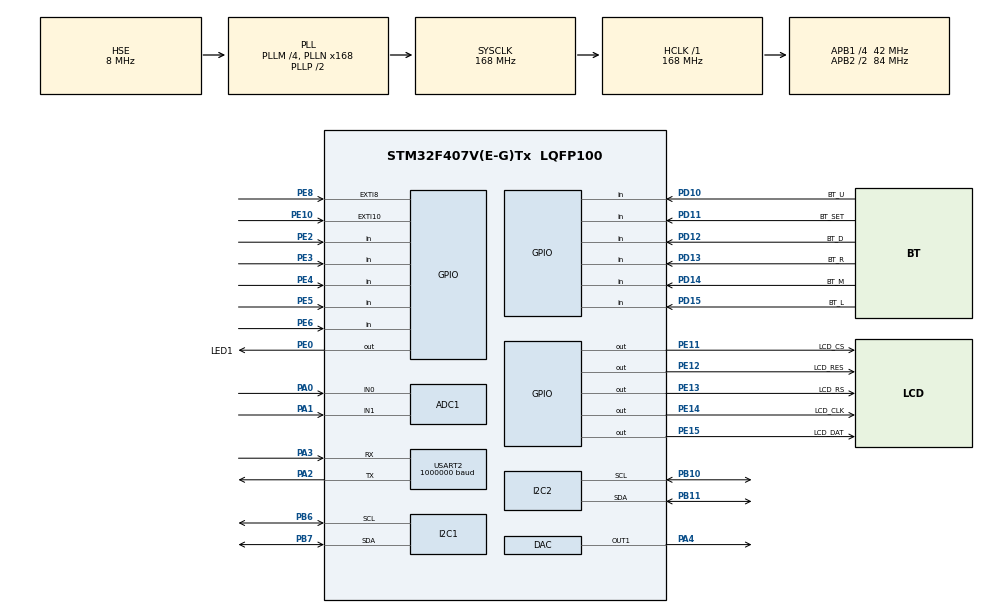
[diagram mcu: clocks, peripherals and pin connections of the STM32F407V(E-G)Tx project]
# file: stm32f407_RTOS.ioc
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ADC1.Channel-1\#ChannelRegularConversion=ADC_CHANNEL_0
ADC1.Channel-2\#ChannelRegularConversion=ADC_CHANNEL_1
ADC1.Channel-3\#ChannelRegularConversion=ADC_CHANNEL_TEMPSENSOR
ADC1.Channel-4\#ChannelRegularConversion=ADC_CHANNEL_VREFINT
ADC1.DMAContinuousRequests=ENABLE
ADC1.ExternalTrigConv=ADC_EXTERNALTRIGCONV_T4_CC4
ADC1.InjNumberOfConversion=0
ADC1.NbrOfConversion=4
ADC1.NbrOfConversionFlag=1
ADC1.Rank-1\#ChannelRegularConversion=1
ADC1.Rank-2\#ChannelRegularConversion=2
ADC1.Rank-3\#ChannelRegularConversion=3
ADC1.Rank-4\#ChannelRegularConversion=4
ADC1.SamplingTime-1\#ChannelRegularConversion=ADC_SAMPLETIME_144CYCLES
ADC1.SamplingTime-2\#ChannelRegularConversion=ADC_SAMPLETIME_144CYCLES
ADC1.SamplingTime-3\#ChannelRegularConversion=ADC_SAMPLETIME_144CYCLES
ADC1.SamplingTime-4\#ChannelRegularConversion=ADC_SAMPLETIME_144CYCLES
ADC1.master=1
Dma.ADC1.0.Direction=DMA_PERIPH_TO_MEMORY
Dma.ADC1.0.FIFOMode=DMA_FIFOMODE_DISABLE
Dma.ADC1.0.Instance=DMA2_Stream0
Dma.ADC1.0.MemDataAlignment=DMA_MDATAALIGN_HALFWORD
Dma.ADC1.0.MemInc=DMA_MINC_ENABLE
Dma.ADC1.0.Mode=DMA_CIRCULAR
Dma.ADC1.0.PeriphDataAlignment=DMA_PDATAALIGN_HALFWORD
Dma.ADC1.0.PeriphInc=DMA_PINC_DISABLE
Dma.ADC1.0.Priority=DMA_PRIORITY_LOW
Dma.MEMTOMEM.1.Direction=DMA_MEMORY_TO_MEMORY
Dma.MEMTOMEM.1.FIFOMode=DMA_FIFOMODE_ENABLE
Dma.MEMTOMEM.1.FIFOThreshold=DMA_FIFO_THRESHOLD_FULL
Dma.MEMTOMEM.1.Instance=DMA2_Stream1
Dma.MEMTOMEM.1.MemBurst=DMA_MBURST_SINGLE
Dma.MEMTOMEM.1.MemDataAlignment=DMA_MDATAALIGN_WORD
Dma.MEMTOMEM.1.MemInc=DMA_MINC_ENABLE
Dma.MEMTOMEM.1.Mode=DMA_NORMAL
Dma.MEMTOMEM.1.PeriphBurst=DMA_PBURST_SINGLE
Dma.MEMTOMEM.1.PeriphDataAlignment=DMA_PDATAALIGN_WORD
Dma.MEMTOMEM.1.PeriphInc=DMA_PINC_ENABLE
Dma.MEMTOMEM.1.Priority=DMA_PRIORITY_LOW
Dma.Request0=ADC1
Dma.Request1=MEMTOMEM
FREERTOS.BinarySemaphores01=myBinarySemAdcReady,Static,myBinarySemAdcReadyControlBlock
FREERTOS.INCLUDE_uxTaskGetStackHighWaterMark2=1
FREERTOS.Mutexes01=myMutex01,Static,myMutex01ControlBlock
FREERTOS.Tasks01=keyReadTask,32,512,StartTaskKeyRead,Default,NULL,Static,keyReadTaskBuffer,keyReadTaskControlBlock;uartReadTask,40,512,StartTaskUartRead,Default,NULL,Static,uartReadTaskBuffer,uartReadTaskControlBlock;ADC1ReadTask,40,512,StartTaskADC,Default,NULL,Static,myTaskADC1Buffer,myTaskADC1ControlBlock;BMP280Task,25,512,StartTaskReadBMP280,Default,NULL,Static,BMP280TaskBuffer,BMP280TaskControlBlock
FREERTOS.configENABLE_FPU=1
FREERTOS.configMINIMAL_STACK_SIZE=256
FREERTOS.configUSE_IDLE_HOOK=0
FREERTOS.configUSE_NEWLIB_REENTRANT=1
I2C1.I2C_Mode=I2C_Standard
I2C2.I2C_Mode=I2C_Fast
IWDG.Prescaler=IWDG_PRESCALER_64
Mcu.Family=STM32F4
Mcu.Name=STM32F407V(E-G)Tx
Mcu.Package=LQFP100
NVIC.ADC_IRQn=true\:5\:0\:false\:false\:true\:true\:true\:true\:true
NVIC.DMA2_Stream0_IRQn=true\:5\:0\:false\:false\:true\:true\:false\:true\:true
NVIC.EXTI15_10_IRQn=true\:5\:0\:false\:false\:true\:true\:true\:true\:true
NVIC.EXTI9_5_IRQn=true\:5\:0\:false\:false\:true\:true\:true\:true\:true
NVIC.PriorityGroup=NVIC_PRIORITYGROUP_4
NVIC.USART2_IRQn=true\:5\:0\:false\:false\:true\:true\:true\:true\:true
PA0-WKUP.Signal=ADCx_IN0
PA1.Signal=ADCx_IN1
PA13.Mode=Trace_Asynchronous_SW
PA13.Signal=SYS_JTMS-SWDIO
PA14.Mode=Trace_Asynchronous_SW
PA14.Signal=SYS_JTCK-SWCLK
PA2.Mode=Asynchronous
PA2.Signal=USART2_TX
PA3.Mode=Asynchronous
PA3.Signal=USART2_RX
PA4.Signal=COMP_DAC1_group
PB10.Mode=I2C
PB10.Signal=I2C2_SCL
PB11.Mode=I2C
PB11.Signal=I2C2_SDA
PB3.Mode=Trace_Asynchronous_SW
PB3.Signal=SYS_JTDO-SWO
PB6.Mode=I2C
PB6.Signal=I2C1_SCL
PB7.Mode=I2C
PB7.Signal=I2C1_SDA
PD10.GPIO_Label=BT_U
PD10.GPIO_PuPd=GPIO_PULLUP
PD10.Signal=GPIO_Input
PD11.GPIO_Label=BT_SET
PD11.GPIO_PuPd=GPIO_PULLUP
PD11.Signal=GPIO_Input
PD12.GPIO_Label=BT_D
PD12.GPIO_PuPd=GPIO_PULLUP
PD12.Signal=GPIO_Input
PD13.GPIO_Label=BT_R
PD13.GPIO_PuPd=GPIO_PULLUP
PD13.Signal=GPIO_Input
PD14.GPIO_Label=BT_M
PD14.GPIO_PuPd=GPIO_PULLUP
PD14.Signal=GPIO_Input
PD15.GPIO_Label=BT_L
PD15.GPIO_PuPd=GPIO_PULLUP
PD15.Signal=GPIO_Input
PE0.GPIO_Label=LED1
PE0.Signal=GPIO_Output
PE10.GPIO_PuPd=GPIO_PULLUP
PE10.Signal=GPXTI10
PE11.GPIO_Label=LCD_CS
PE11.GPIO_PuPd=GPIO_NOPULL
PE11.GPIO_Speed=GPIO_SPEED_FREQ_HIGH
PE11.Signal=GPIO_Output
PE12.GPIO_Label=LCD_RES
PE12.GPIO_Speed=GPIO_SPEED_FREQ_LOW
PE12.Signal=GPIO_Output
PE13.GPIO_Label=LCD_RS
PE13.GPIO_Speed=GPIO_SPEED_FREQ_HIGH
PE13.Signal=GPIO_Output
PE14.GPIO_Label=LCD_CLK
PE14.GPIO_Speed=GPIO_SPEED_FREQ_VERY_HIGH
PE14.Signal=GPIO_Output
PE15.GPIO_Label=LCD_DAT
PE15.GPIO_Speed=GPIO_SPEED_FREQ_VERY_HIGH
PE15.Signal=GPIO_Output
PE2.Signal=GPIO_Input
PE3.Signal=GPIO_Input
PE4.Signal=GPIO_Input
PE5.Signal=GPIO_Input
PE6.Signal=GPIO_Input
PE8.GPIO_PuPd=GPIO_PULLUP
PE8.Signal=GPXTI8
PH0-OSC_IN.Mode=HSE-External-Oscillator
PH0-OSC_IN.Signal=RCC_OSC_IN
PH1-OSC_OUT.Mode=HSE-External-Oscillator
PH1-OSC_OUT.Signal=RCC_OSC_OUT
ProjectManager.HeapSize=0x400
ProjectManager.StackSize=0x800
ProjectManager.TargetToolchain=STM32CubeIDE
RCC.48MHZClocksFreq_Value=48000000
RCC.AHBFreq_Value=168000000
RCC.APB1CLKDivider=RCC_HCLK_DIV4
RCC.APB1Freq_Value=42000000
RCC.APB1TimFreq_Value=84000000
RCC.APB2CLKDivider=RCC_HCLK_DIV2
RCC.APB2Freq_Value=84000000
RCC.APB2TimFreq_Value=168000000
RCC.CortexFreq_Value=168000000
RCC.HCLKFreq_Value=168000000
RCC.HSE_VALUE=8000000
RCC.HSICalibrationValue=16
RCC.HSI_VALUE=16000000
RCC.LSE_VALUE=32768
RCC.PLLM=4
RCC.PLLN=168
RCC.PLLQ=7
RCC.PLLSourceVirtual=RCC_PLLSOURCE_HSE
RCC.SYSCLKFreq_VALUE=168000000
RCC.SYSCLKSource=RCC_SYSCLKSOURCE_PLLCLK
RCC.VCOOutputFreq_Value=336000000
SH.ADCx_IN0.0=ADC1_IN0,IN0
SH.ADCx_IN1.0=ADC1_IN1,IN1
SH.COMP_DAC1_group.0=DAC_OUT1,DAC_OUT1
TIM4.Channel-Output\ Compare4\ No\ Output=TIM_CHANNEL_4
TIM4.ClockDivision=TIM_CLOCKDIVISION_DIV2
TIM4.OCMode_4=TIM_OCMODE_TOGGLE
TIM4.Period=500
TIM4.Prescaler=41999
USART2.BaudRate=1000000
USART2.VirtualMode=VM_ASYNC
VP_ADC1_TempSens_Input.Mode=IN-TempSens
VP_ADC1_Vref_Input.Mode=IN-Vrefint
VP_CRC_VS_CRC.Mode=CRC_Activate
VP_FREERTOS_VS_CMSIS_V2.Mode=CMSIS_V2
VP_IWDG_VS_IWDG.Mode=IWDG_Activate
VP_RNG_VS_RNG.Mode=RNG_Activate
VP_TIM4_VS_ClockSourceINT.Mode=Internal
VP_TIM4_VS_no_output4.Mode=Output Compare4 No Output
board=custom

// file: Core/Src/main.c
/* USER CODE BEGIN Header */
/**
  ******************************************************************************
  * @file           : main.c
  * @brief          : Main program body
  ******************************************************************************
  * @attention
  *
  * Copyright (c) 2025 STMicroelectronics.
  * All rights reserved.
  *
  * This software is licensed under terms that can be found in the LICENSE file
  * in the root directory of this software component.
  * If no LICENSE file comes with this software, it is provided AS-IS.
  *
  ******************************************************************************
  * Author: Maltsev Yuriy
  */
/* USER CODE END Header */
#include "main.h"
#include "cmsis_os.h"

/* USER CODE BEGIN Includes */
#include "utils.h"
#include "LCD_LPH8731.h"
#include "uart.h"
#include "buttons.h"
#include "testspeedcopy.h"
#include "i2c.h"
#include "bmp280.h"
#include "ATH25.h"
// #include "mt6701.h"
#include "parse_cmd.h"

// то что хотим видеть в глобальной области видимости, подключаем непосредственно в "main.h"

/* USER CODE END Includes */

typedef StaticTask_t osStaticThreadDef_t;
typedef StaticSemaphore_t osStaticMutexDef_t;
typedef StaticSemaphore_t osStaticSemaphoreDef_t;

/* USER CODE BEGIN PM */
#define INCLUDE_vTaskSuspend 1
/* USER CODE END PM */

ADC_HandleTypeDef hadc1;
DMA_HandleTypeDef hdma_adc1;

CRC_HandleTypeDef hcrc;

DAC_HandleTypeDef hdac;

I2C_HandleTypeDef hi2c1;
I2C_HandleTypeDef hi2c2;

IWDG_HandleTypeDef hiwdg;

RNG_HandleTypeDef hrng;

TIM_HandleTypeDef htim4;

UART_HandleTypeDef huart2;

DMA_HandleTypeDef hdma_memtomem_dma2_stream1;
/* Definitions for keyReadTask */
osThreadId_t keyReadTaskHandle;
uint32_t keyReadTaskBuffer[ 512 ];
osStaticThreadDef_t keyReadTaskControlBlock;
const osThreadAttr_t keyReadTask_attributes = {
  .name = "keyReadTask",
  .cb_mem = &keyReadTaskControlBlock,
  .cb_size = sizeof(keyReadTaskControlBlock),
  .stack_mem = &keyReadTaskBuffer[0],
  .stack_size = sizeof(keyReadTaskBuffer),
  .priority = (osPriority_t) osPriorityAboveNormal,
};
/* Definitions for uartReadTask */
osThreadId_t uartReadTaskHandle;
uint32_t uartReadTaskBuffer[ 512 ];
osStaticThreadDef_t uartReadTaskControlBlock;
const osThreadAttr_t uartReadTask_attributes = {
  .name = "uartReadTask",
  .cb_mem = &uartReadTaskControlBlock,
  .cb_size = sizeof(uartReadTaskControlBlock),
  .stack_mem = &uartReadTaskBuffer[0],
  .stack_size = sizeof(uartReadTaskBuffer),
  .priority = (osPriority_t) osPriorityHigh,
};
/* Definitions for ADC1ReadTask */
osThreadId_t ADC1ReadTaskHandle;
uint32_t myTaskADC1Buffer[ 512 ];
osStaticThreadDef_t myTaskADC1ControlBlock;
const osThreadAttr_t ADC1ReadTask_attributes = {
  .name = "ADC1ReadTask",
  .cb_mem = &myTaskADC1ControlBlock,
  .cb_size = sizeof(myTaskADC1ControlBlock),
  .stack_mem = &myTaskADC1Buffer[0],
  .stack_size = sizeof(myTaskADC1Buffer),
  .priority = (osPriority_t) osPriorityHigh,
};
/* Definitions for BMP280Task */
osThreadId_t BMP280TaskHandle;
uint32_t BMP280TaskBuffer[ 512 ];
osStaticThreadDef_t BMP280TaskControlBlock;
const osThreadAttr_t BMP280Task_attributes = {
  .name = "BMP280Task",
  .cb_mem = &BMP280TaskControlBlock,
  .cb_size = sizeof(BMP280TaskControlBlock),
  .stack_mem = &BMP280TaskBuffer[0],
  .stack_size = sizeof(BMP280TaskBuffer),
  .priority = (osPriority_t) osPriorityNormal1,
};
/* Definitions for myMutex01 */
osMutexId_t myMutex01Handle;
osStaticMutexDef_t myMutex01ControlBlock;
const osMutexAttr_t myMutex01_attributes = {
  .name = "myMutex01",
  .cb_mem = &myMutex01ControlBlock,
  .cb_size = sizeof(myMutex01ControlBlock),
};
/* Definitions for myBinarySemAdcReady */
osSemaphoreId_t myBinarySemAdcReadyHandle;
osStaticSemaphoreDef_t myBinarySemAdcReadyControlBlock;
const osSemaphoreAttr_t myBinarySemAdcReady_attributes = {
  .name = "myBinarySemAdcReady",
  .cb_mem = &myBinarySemAdcReadyControlBlock,
  .cb_size = sizeof(myBinarySemAdcReadyControlBlock),
};

void SystemClock_Config(void);
static void MX_GPIO_Init(void);
static void MX_DMA_Init(void);
static void MX_ADC1_Init(void);
static void MX_CRC_Init(void);
static void MX_DAC_Init(void);
static void MX_I2C1_Init(void);
static void MX_I2C2_Init(void);
static void MX_RNG_Init(void);
static void MX_TIM4_Init(void);
static void MX_USART2_UART_Init(void);
static void MX_IWDG_Init(void);
void StartTaskKeyRead(void *argument);
void StartTaskUartRead(void *argument);
void StartTaskADC(void *argument);
void StartTaskReadBMP280(void *argument);

/* USER CODE BEGIN PFP */
// область для объявления приватных функций
float get_vdd_from_adc(uint16_t val);
/* USER CODE END PFP */

/* USER CODE BEGIN 0 */

uint16_t adc[4] = {0}; // ADC: pin A0, pin A1, Tmp_int, VDD_int

// Преобразует raw величину с внутреннего
// канала ADC в напряжение питания, если внутреннее опорное ровно 1.2В
float get_vdd_from_adc(uint16_t val){
	return (1 * 1.2f * 4096) / val;
}

/* callback на завершение преобразования ADC */
void HAL_ADC_ConvCpltCallback(ADC_HandleTypeDef *hadc) {
	if (hadc->Instance == ADC1) {
		// через семафор разрешим задаче обработать данные
		osSemaphoreRelease(myBinarySemAdcReadyHandle);

		// если режим не continues и запуск не от таймера, то нужно перезапускать
		// HAL_ADC_Start_DMA(&hadc1, (uint32_t*) adc, _SIZE_ARRAY(adc));
	}
}

// висит на пинах поворотный энкодер
// TO DO: реализовать защиту от дребезга на энкодере
void HAL_GPIO_EXTI_Callback(uint16_t GPIO_Pin) {
	printf("GPIO %d\r\n", GPIO_Pin);
}

// Опрос BMP280 и ATH25 и вывод результатов в терминал и на LCD
void read_bmp280_ath25() {
#ifdef INC_BMP280_H_
	float temperature, pressure;
	bmp280_ReadData(&temperature, &pressure);
#ifdef INC_ATH25_H_
	float ATH25_temperature, ATH25_humidity;
	HAL_StatusTypeDef status;

	status = ATH25_Read_Data(&ATH25_temperature, &ATH25_humidity);
	if (status == HAL_OK) {
		printf("T: %.2f; P1: %.2f; P2: %.4f; H: %.2f; T2: %.2f\r\n",
				temperature, pressure, pressure / mmHg, ATH25_humidity,
				ATH25_temperature);
	} else {
		printf("T: %.2f; P1: %.2f; P2: %.4f;\r\n", temperature, pressure,
				pressure / mmHg);
	}
#else
	printf("T: %.2f; P1: %.2f; P2: %.4f;\r\n",
			temperature, pressure, pressure/mmHg);
#endif /* INC_ATH25_H_ */

#ifdef INC_MT6701_H_
	 uint16_t rez_raw = mt6701_read();
	 float deg = rez_raw * (360.0f / 16384.0f);
	 printf("MT6701 = raw: %4d, deg: %.3f", rez_raw, deg);
#endif /* INC_MT6701_H_ */

	// print to LCD
	uint16_t last_color_ink = color_ink;
	uint16_t last_color_back = color_back;
	color_ink = RED;
	color_back = WHITE;
	// memset(buffLcd, 0, sizeof(buffLcd));
#ifdef INC_ATH25_H_
	sprintf(buffLcd, "T: %.2f %d \nP: %.3f mmhg\nH: %.2f T2:%.2f", temperature,
			(int) pressure, pressure / mmHg, ATH25_humidity, ATH25_temperature);
#else
	sprintf(buffLcd, "T: %.2f %d \nP: %.3f mmhg",
			temperature, (int)pressure, pressure/mmHg);
#endif /* INC_ATH25_H_ */
	lcd_print_str(buffLcd, 0, 4, 1, 1);
	color_ink = last_color_ink;
	color_back = last_color_back;
#endif /* INC_BMP280_H_ */
}

/* USER CODE END 0 */

int main(void)
{

  /* MCU Configuration--------------------------------------------------------*/

  /* Reset of all peripherals, Initializes the Flash interface and the Systick. */
  HAL_Init();

  /* Configure the system clock */
  SystemClock_Config();

  /* Initialize all configured peripherals */
  MX_GPIO_Init();
  MX_DMA_Init();
  MX_ADC1_Init();
  MX_CRC_Init();
  MX_DAC_Init();
  MX_I2C1_Init();
  MX_I2C2_Init();
  MX_RNG_Init();
  MX_TIM4_Init();
  MX_USART2_UART_Init();
  MX_IWDG_Init();
  /* USER CODE BEGIN 2 */

	printf("Run on controller: ");
#if defined(STM32F103xB)
	printf("'STM32F103xB'\r\n");
#elif defined(STM32F407xx)
	printf("'STM32F407xx'\r\n");
#else
	printf("'unknown'\r\n");
#endif

	lcd_init();

	UART_Start();

	/* меняем настройки прескалера TIM4 */
	htim4.Init.Prescaler = 42000 - 1; // 42 MHz -> 1 KHz
	htim4.Init.Period = 5000; // msec
	TIM_Base_SetConfig(htim4.Instance, &htim4.Init); // Set the Time Base configuration
	HAL_TIM_OC_Start(&htim4, TIM_CHANNEL_4); // запускаем таймер

	// HAL_ADCEx_Calibration_Start(&hadc1); // отсутствует в F4, но есть в F1
	HAL_ADC_Start_DMA(&hadc1, (uint32_t*) adc, _SIZE_ARRAY(adc));

#ifdef INC_BMP280_H_
	bmp280_init();
#endif
#ifdef INC_ATH25_H_
	ATH25_init();
#endif
  /* USER CODE END 2 */

  /* Init scheduler */
  osKernelInitialize();
  /* Create the mutex(es) */
  /* creation of myMutex01 */
  myMutex01Handle = osMutexNew(&myMutex01_attributes);

  /* Create the semaphores(s) */
  /* creation of myBinarySemAdcReady */
  myBinarySemAdcReadyHandle = osSemaphoreNew(1, 0, &myBinarySemAdcReady_attributes);

  /* Create the thread(s) */
  /* creation of keyReadTask */
  keyReadTaskHandle = osThreadNew(StartTaskKeyRead, NULL, &keyReadTask_attributes);

  /* creation of uartReadTask */
  uartReadTaskHandle = osThreadNew(StartTaskUartRead, NULL, &uartReadTask_attributes);

  /* creation of ADC1ReadTask */
  ADC1ReadTaskHandle = osThreadNew(StartTaskADC, NULL, &ADC1ReadTask_attributes);

  /* creation of BMP280Task */
  BMP280TaskHandle = osThreadNew(StartTaskReadBMP280, NULL, &BMP280Task_attributes);

  /* Start scheduler */
  osKernelStart();

  /* We should never get here as control is now taken by the scheduler */

  /* Infinite loop */
  while (1)
  {

  }
}

void SystemClock_Config(void)
{
  RCC_OscInitTypeDef RCC_OscInitStruct = {0};
  RCC_ClkInitTypeDef RCC_ClkInitStruct = {0};

  /** Configure the main internal regulator output voltage
  */
  __HAL_RCC_PWR_CLK_ENABLE();
  __HAL_PWR_VOLTAGESCALING_CONFIG(PWR_REGULATOR_VOLTAGE_SCALE1);

  /** Initializes the RCC Oscillators according to the specified parameters
  * in the RCC_OscInitTypeDef structure.
  */
  RCC_OscInitStruct.OscillatorType = RCC_OSCILLATORTYPE_LSI|RCC_OSCILLATORTYPE_HSE;
  RCC_OscInitStruct.HSEState = RCC_HSE_ON;
  RCC_OscInitStruct.LSIState = RCC_LSI_ON;
  RCC_OscInitStruct.PLL.PLLState = RCC_PLL_ON;
  RCC_OscInitStruct.PLL.PLLSource = RCC_PLLSOURCE_HSE;
  RCC_OscInitStruct.PLL.PLLM = 4;
  RCC_OscInitStruct.PLL.PLLN = 168;
  RCC_OscInitStruct.PLL.PLLP = RCC_PLLP_DIV2;
  RCC_OscInitStruct.PLL.PLLQ = 7;
  if (HAL_RCC_OscConfig(&RCC_OscInitStruct) != HAL_OK)
  {
    Error_Handler();
  }

  /** Initializes the CPU, AHB and APB buses clocks
  */
  RCC_ClkInitStruct.ClockType = RCC_CLOCKTYPE_HCLK|RCC_CLOCKTYPE_SYSCLK
                              |RCC_CLOCKTYPE_PCLK1|RCC_CLOCKTYPE_PCLK2;
  RCC_ClkInitStruct.SYSCLKSource = RCC_SYSCLKSOURCE_PLLCLK;
  RCC_ClkInitStruct.AHBCLKDivider = RCC_SYSCLK_DIV1;
  RCC_ClkInitStruct.APB1CLKDivider = RCC_HCLK_DIV4;
  RCC_ClkInitStruct.APB2CLKDivider = RCC_HCLK_DIV2;

  if (HAL_RCC_ClockConfig(&RCC_ClkInitStruct, FLASH_LATENCY_5) != HAL_OK)
  {
    Error_Handler();
  }
}

static void MX_ADC1_Init(void)
{

  ADC_ChannelConfTypeDef sConfig = {0};

  /** Configure the global features of the ADC (Clock, Resolution, Data Alignment and number of conversion)
  */
  hadc1.Instance = ADC1;
  hadc1.Init.ClockPrescaler = ADC_CLOCK_SYNC_PCLK_DIV4;
  hadc1.Init.Resolution = ADC_RESOLUTION_12B;
  hadc1.Init.ScanConvMode = ENABLE;
  hadc1.Init.ContinuousConvMode = DISABLE;
  hadc1.Init.DiscontinuousConvMode = DISABLE;
  hadc1.Init.ExternalTrigConvEdge = ADC_EXTERNALTRIGCONVEDGE_RISING;
  hadc1.Init.ExternalTrigConv = ADC_EXTERNALTRIGCONV_T4_CC4;
  hadc1.Init.DataAlign = ADC_DATAALIGN_RIGHT;
  hadc1.Init.NbrOfConversion = 4;
  hadc1.Init.DMAContinuousRequests = ENABLE;
  hadc1.Init.EOCSelection = ADC_EOC_SINGLE_CONV;
  if (HAL_ADC_Init(&hadc1) != HAL_OK)
  {
    Error_Handler();
  }

  /** Configure for the selected ADC regular channel its corresponding rank in the sequencer and its sample time.
  */
  sConfig.Channel = ADC_CHANNEL_0;
  sConfig.Rank = 1;
  sConfig.SamplingTime = ADC_SAMPLETIME_144CYCLES;
  if (HAL_ADC_ConfigChannel(&hadc1, &sConfig) != HAL_OK)
  {
    Error_Handler();
  }

  /** Configure for the selected ADC regular channel its corresponding rank in the sequencer and its sample time.
  */
  sConfig.Channel = ADC_CHANNEL_1;
  sConfig.Rank = 2;
  if (HAL_ADC_ConfigChannel(&hadc1, &sConfig) != HAL_OK)
  {
    Error_Handler();
  }

  /** Configure for the selected ADC regular channel its corresponding rank in the sequencer and its sample time.
  */
  sConfig.Channel = ADC_CHANNEL_TEMPSENSOR;
  sConfig.Rank = 3;
  if (HAL_ADC_ConfigChannel(&hadc1, &sConfig) != HAL_OK)
  {
    Error_Handler();
  }

  /** Configure for the selected ADC regular channel its corresponding rank in the sequencer and its sample time.
  */
  sConfig.Channel = ADC_CHANNEL_VREFINT;
  sConfig.Rank = 4;
  if (HAL_ADC_ConfigChannel(&hadc1, &sConfig) != HAL_OK)
  {
    Error_Handler();
  }

}

static void MX_CRC_Init(void)
{

  hcrc.Instance = CRC;
  if (HAL_CRC_Init(&hcrc) != HAL_OK)
  {
    Error_Handler();
  }

}

static void MX_DAC_Init(void)
{

  DAC_ChannelConfTypeDef sConfig = {0};

  /** DAC Initialization
  */
  hdac.Instance = DAC;
  if (HAL_DAC_Init(&hdac) != HAL_OK)
  {
    Error_Handler();
  }

  /** DAC channel OUT1 config
  */
  sConfig.DAC_Trigger = DAC_TRIGGER_NONE;
  sConfig.DAC_OutputBuffer = DAC_OUTPUTBUFFER_ENABLE;
  if (HAL_DAC_ConfigChannel(&hdac, &sConfig, DAC_CHANNEL_1) != HAL_OK)
  {
    Error_Handler();
  }

}

static void MX_I2C1_Init(void)
{

  hi2c1.Instance = I2C1;
  hi2c1.Init.ClockSpeed = 100000;
  hi2c1.Init.DutyCycle = I2C_DUTYCYCLE_2;
  hi2c1.Init.OwnAddress1 = 0;
  hi2c1.Init.AddressingMode = I2C_ADDRESSINGMODE_7BIT;
  hi2c1.Init.DualAddressMode = I2C_DUALADDRESS_DISABLE;
  hi2c1.Init.OwnAddress2 = 0;
  hi2c1.Init.GeneralCallMode = I2C_GENERALCALL_DISABLE;
  hi2c1.Init.NoStretchMode = I2C_NOSTRETCH_DISABLE;
  if (HAL_I2C_Init(&hi2c1) != HAL_OK)
  {
    Error_Handler();
  }

}

static void MX_I2C2_Init(void)
{

  hi2c2.Instance = I2C2;
  hi2c2.Init.ClockSpeed = 400000;
  hi2c2.Init.DutyCycle = I2C_DUTYCYCLE_2;
  hi2c2.Init.OwnAddress1 = 0;
  hi2c2.Init.AddressingMode = I2C_ADDRESSINGMODE_7BIT;
  hi2c2.Init.DualAddressMode = I2C_DUALADDRESS_DISABLE;
  hi2c2.Init.OwnAddress2 = 0;
  hi2c2.Init.GeneralCallMode = I2C_GENERALCALL_DISABLE;
  hi2c2.Init.NoStretchMode = I2C_NOSTRETCH_DISABLE;
  if (HAL_I2C_Init(&hi2c2) != HAL_OK)
  {
    Error_Handler();
  }

}

static void MX_IWDG_Init(void)
{

  hiwdg.Instance = IWDG;
  hiwdg.Init.Prescaler = IWDG_PRESCALER_64;
  hiwdg.Init.Reload = 4095;
  if (HAL_IWDG_Init(&hiwdg) != HAL_OK)
  {
    Error_Handler();
  }

}

static void MX_RNG_Init(void)
{

  hrng.Instance = RNG;
  if (HAL_RNG_Init(&hrng) != HAL_OK)
  {
    Error_Handler();
  }

}

static void MX_TIM4_Init(void)
{

  TIM_ClockConfigTypeDef sClockSourceConfig = {0};
  TIM_MasterConfigTypeDef sMasterConfig = {0};
  TIM_OC_InitTypeDef sConfigOC = {0};

  htim4.Instance = TIM4;
  htim4.Init.Prescaler = 41999;
  htim4.Init.CounterMode = TIM_COUNTERMODE_UP;
  htim4.Init.Period = 500;
  htim4.Init.ClockDivision = TIM_CLOCKDIVISION_DIV2;
  htim4.Init.AutoReloadPreload = TIM_AUTORELOAD_PRELOAD_DISABLE;
  if (HAL_TIM_Base_Init(&htim4) != HAL_OK)
  {
    Error_Handler();
  }
  sClockSourceConfig.ClockSource = TIM_CLOCKSOURCE_INTERNAL;
  if (HAL_TIM_ConfigClockSource(&htim4, &sClockSourceConfig) != HAL_OK)
  {
    Error_Handler();
  }
  if (HAL_TIM_OC_Init(&htim4) != HAL_OK)
  {
    Error_Handler();
  }
  sMasterConfig.MasterOutputTrigger = TIM_TRGO_RESET;
  sMasterConfig.MasterSlaveMode = TIM_MASTERSLAVEMODE_DISABLE;
  if (HAL_TIMEx_MasterConfigSynchronization(&htim4, &sMasterConfig) != HAL_OK)
  {
    Error_Handler();
  }
  sConfigOC.OCMode = TIM_OCMODE_TOGGLE;
  sConfigOC.Pulse = 0;
  sConfigOC.OCPolarity = TIM_OCPOLARITY_HIGH;
  sConfigOC.OCFastMode = TIM_OCFAST_DISABLE;
  if (HAL_TIM_OC_ConfigChannel(&htim4, &sConfigOC, TIM_CHANNEL_4) != HAL_OK)
  {
    Error_Handler();
  }

}

static void MX_USART2_UART_Init(void)
{

  huart2.Instance = USART2;
  huart2.Init.BaudRate = 1000000;
  huart2.Init.WordLength = UART_WORDLENGTH_8B;
  huart2.Init.StopBits = UART_STOPBITS_1;
  huart2.Init.Parity = UART_PARITY_NONE;
  huart2.Init.Mode = UART_MODE_TX_RX;
  huart2.Init.HwFlowCtl = UART_HWCONTROL_NONE;
  huart2.Init.OverSampling = UART_OVERSAMPLING_16;
  if (HAL_UART_Init(&huart2) != HAL_OK)
  {
    Error_Handler();
  }

}

static void MX_DMA_Init(void)
{

  /* DMA controller clock enable */
  __HAL_RCC_DMA2_CLK_ENABLE();

  /* Configure DMA request hdma_memtomem_dma2_stream1 on DMA2_Stream1 */
  hdma_memtomem_dma2_stream1.Instance = DMA2_Stream1;
  hdma_memtomem_dma2_stream1.Init.Channel = DMA_CHANNEL_0;
  hdma_memtomem_dma2_stream1.Init.Direction = DMA_MEMORY_TO_MEMORY;
  hdma_memtomem_dma2_stream1.Init.PeriphInc = DMA_PINC_ENABLE;
  hdma_memtomem_dma2_stream1.Init.MemInc = DMA_MINC_ENABLE;
  hdma_memtomem_dma2_stream1.Init.PeriphDataAlignment = DMA_PDATAALIGN_WORD;
  hdma_memtomem_dma2_stream1.Init.MemDataAlignment = DMA_MDATAALIGN_WORD;
  hdma_memtomem_dma2_stream1.Init.Mode = DMA_NORMAL;
  hdma_memtomem_dma2_stream1.Init.Priority = DMA_PRIORITY_LOW;
  hdma_memtomem_dma2_stream1.Init.FIFOMode = DMA_FIFOMODE_ENABLE;
  hdma_memtomem_dma2_stream1.Init.FIFOThreshold = DMA_FIFO_THRESHOLD_FULL;
  hdma_memtomem_dma2_stream1.Init.MemBurst = DMA_MBURST_SINGLE;
  hdma_memtomem_dma2_stream1.Init.PeriphBurst = DMA_PBURST_SINGLE;
  if (HAL_DMA_Init(&hdma_memtomem_dma2_stream1) != HAL_OK)
  {
    Error_Handler( );
  }

  /* DMA interrupt init */
  /* DMA2_Stream0_IRQn interrupt configuration */
  HAL_NVIC_SetPriority(DMA2_Stream0_IRQn, 5, 0);
  HAL_NVIC_EnableIRQ(DMA2_Stream0_IRQn);

}

static void MX_GPIO_Init(void)
{
  GPIO_InitTypeDef GPIO_InitStruct = {0};

  /* GPIO Ports Clock Enable */
  __HAL_RCC_GPIOE_CLK_ENABLE();
  __HAL_RCC_GPIOH_CLK_ENABLE();
  __HAL_RCC_GPIOA_CLK_ENABLE();
  __HAL_RCC_GPIOB_CLK_ENABLE();
  __HAL_RCC_GPIOD_CLK_ENABLE();

  /*Configure GPIO pin Output Level */
  HAL_GPIO_WritePin(GPIOE, LCD_CS_Pin|LCD_RES_Pin|LCD_RS_Pin|LCD_CLK_Pin
                          |LCD_DAT_Pin|LED1_Pin, GPIO_PIN_RESET);

  /*Configure GPIO pins : PE2 PE3 PE4 PE5
                           PE6 */
  GPIO_InitStruct.Pin = GPIO_PIN_2|GPIO_PIN_3|GPIO_PIN_4|GPIO_PIN_5
                          |GPIO_PIN_6;
  GPIO_InitStruct.Mode = GPIO_MODE_INPUT;
  GPIO_InitStruct.Pull = GPIO_NOPULL;
  HAL_GPIO_Init(GPIOE, &GPIO_InitStruct);

  /*Configure GPIO pins : PE8 PE10 */
  GPIO_InitStruct.Pin = GPIO_PIN_8|GPIO_PIN_10;
  GPIO_InitStruct.Mode = GPIO_MODE_IT_RISING;
  GPIO_InitStruct.Pull = GPIO_PULLUP;
  HAL_GPIO_Init(GPIOE, &GPIO_InitStruct);

  /*Configure GPIO pins : LCD_CS_Pin LCD_RS_Pin */
  GPIO_InitStruct.Pin = LCD_CS_Pin|LCD_RS_Pin;
  GPIO_InitStruct.Mode = GPIO_MODE_OUTPUT_PP;
  GPIO_InitStruct.Pull = GPIO_NOPULL;
  GPIO_InitStruct.Speed = GPIO_SPEED_FREQ_HIGH;
  HAL_GPIO_Init(GPIOE, &GPIO_InitStruct);

  /*Configure GPIO pins : LCD_RES_Pin LED1_Pin */
  GPIO_InitStruct.Pin = LCD_RES_Pin|LED1_Pin;
  GPIO_InitStruct.Mode = GPIO_MODE_OUTPUT_PP;
  GPIO_InitStruct.Pull = GPIO_NOPULL;
  GPIO_InitStruct.Speed = GPIO_SPEED_FREQ_LOW;
  HAL_GPIO_Init(GPIOE, &GPIO_InitStruct);

  /*Configure GPIO pins : LCD_CLK_Pin LCD_DAT_Pin */
  GPIO_InitStruct.Pin = LCD_CLK_Pin|LCD_DAT_Pin;
  GPIO_InitStruct.Mode = GPIO_MODE_OUTPUT_PP;
  GPIO_InitStruct.Pull = GPIO_NOPULL;
  GPIO_InitStruct.Speed = GPIO_SPEED_FREQ_VERY_HIGH;
  HAL_GPIO_Init(GPIOE, &GPIO_InitStruct);

  /*Configure GPIO pins : BT_U_Pin BT_SET_Pin BT_D_Pin BT_R_Pin
                           BT_M_Pin BT_L_Pin */
  GPIO_InitStruct.Pin = BT_U_Pin|BT_SET_Pin|BT_D_Pin|BT_R_Pin
                          |BT_M_Pin|BT_L_Pin;
  GPIO_InitStruct.Mode = GPIO_MODE_INPUT;
  GPIO_InitStruct.Pull = GPIO_PULLUP;
  HAL_GPIO_Init(GPIOD, &GPIO_InitStruct);

  /* EXTI interrupt init*/
  HAL_NVIC_SetPriority(EXTI9_5_IRQn, 5, 0);
  HAL_NVIC_EnableIRQ(EXTI9_5_IRQn);

  HAL_NVIC_SetPriority(EXTI15_10_IRQn, 5, 0);
  HAL_NVIC_EnableIRQ(EXTI15_10_IRQn);

}

/* USER CODE BEGIN Header_StartTaskKeyRead */
/**
  * @brief  Опрос клавиатуры и выполнение команд.
  * @param  argument: Not used
  * @retval None
  */
/* USER CODE END Header_StartTaskKeyRead */
void StartTaskKeyRead(void *argument)
{
  /* USER CODE BEGIN 5 */
	/* Infinite loop */
	for (;;) {
		uint16_t kb = buttons_read();
		buttons_test_msg(kb);

		if (kb & KB_UP) {
			printf("Scanning I2C buses\r\n");
			scanI2C();
		}
		if (kb & KB_DOWN) {
			printf("Lcd test\r\n");
			lcd_test();
		}
		if (kb & KB_RIGHT) {
			_PRNFAST("Min free stack:\r\n");
			printf("BMP280TaskHandle   %d\r\n", (uint16_t)uxTaskGetStackHighWaterMark(BMP280TaskHandle));
			printf("ADC1ReadTaskHandle %d\r\n", (uint16_t)uxTaskGetStackHighWaterMark(ADC1ReadTaskHandle));
			printf("uartReadTaskHandle %d\r\n", (uint16_t)uxTaskGetStackHighWaterMark(uartReadTaskHandle));
			printf("keyReadTaskHandle  %d\r\n", (uint16_t)uxTaskGetStackHighWaterMark(keyReadTaskHandle));
		}
#ifdef INC_BMP280_H_
		if (kb & KB_MID) {
			bmp280_Read_All();
		}
#endif
		osDelay(20 / portTICK_RATE_MS);
	}
  /* USER CODE END 5 */
}

/* USER CODE BEGIN Header_StartTaskUartRead */
/**
* @brief Обрабатываем команды принятые по uart.
* @param argument: Not used
* @retval None
*/
/* USER CODE END Header_StartTaskUartRead */
void StartTaskUartRead(void *argument)
{
  /* USER CODE BEGIN StartTaskUartRead */
	/* Infinite loop */
	stParseFunc_t stParseFunc = {
		.parseChr = command_chr,
		.parseStr = command_str,
		.parseBin = command_bin,
	};

	for (;;)
	{
		if (dataRxIsReady() == 1) {
			dataParse(&stParseFunc);
		}
		osDelay(pdMS_TO_TICKS(5));
	}
  /* USER CODE END StartTaskUartRead */
}

void StartTaskADC(void *argument)
{
  /* USER CODE BEGIN StartTaskADC */
	/* Infinite loop */
	for (;;) {
		osSemaphoreAcquire(myBinarySemAdcReadyHandle, osWaitForever);
		HAL_IWDG_Refresh(&hiwdg);

		float vdd = get_vdd_from_adc(adc[3]);

		printf("ADC: A0:%4d, A1:%4d, Tint=%4d, vdd=%4d (%.3f V)\r\n",
				adc[0], adc[1], adc[2], adc[3], vdd);

		// LCD print
		color_ink = BLACK;
		color_back = WHITE;
		sprintf(buffLcd, " Vdd:  %.3f V\n ADC1: %4d\n ADC2: %4d", vdd, adc[0], adc[1]);
		lcd_print_str(buffLcd, 0, 0, 1, 1);

		// osDelay(pdMS_TO_TICKS(1000));
	}
  /* USER CODE END StartTaskADC */
}

void StartTaskReadBMP280(void *argument)
{
  /* USER CODE BEGIN StartTaskReadBMP280 */
	/* Infinite loop */
	TickType_t tcnt = xTaskGetTickCount();
	for (;;)
	{
		LED_Toggle;
		read_bmp280_ath25();
		HAL_IWDG_Refresh(&hiwdg);
		vTaskDelayUntil( &tcnt, pdMS_TO_TICKS(3000) ); // более точный период
	}
  /* USER CODE END StartTaskReadBMP280 */
}

void Error_Handler(void)
{
  __disable_irq();
  while (1)
  {
  }
}
